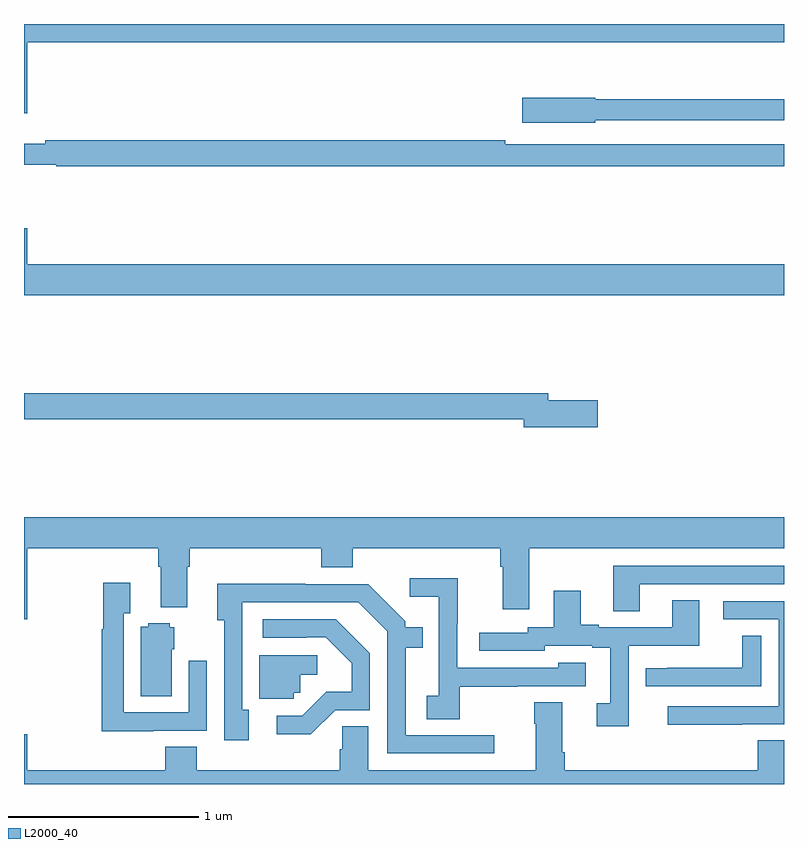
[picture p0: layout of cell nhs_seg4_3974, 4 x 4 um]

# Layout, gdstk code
import gdstk
lib = gdstk.Library(unit=1e-6, precision=1e-09)
def P(c, l, *ps):  # polygons
    for p in ps: c.add(gdstk.Polygon(p, *l))
L2000_40 = (2000, 40)

nhs_seg4_3974 = lib.new_cell('nhs_seg4_3974')
P(nhs_seg4_3974, L2000_40, [(321.016,812.804),(325,812.804),(325,812.9),(321,812.9),(321,812.43),(321.016,812.43)],
  [(324.006,812.394),(325,812.394),(325,812.503),(324.006,812.503),(324.006,812.511),(323.622,812.511),(323.622,812.381),(324.006,812.381)],
  [(325,812.268),(323.534,812.268),(323.534,812.288),(321.112,812.288),(321.112,812.269),(321,812.269),(321,812.16),(321.17,812.16),(321.17,812.152),(325,812.152)],
  [(325,811.636),(321.016,811.636),(321.016,811.825),(321,811.825),(321,811.472),(325,811.472)],
  [(324.019,810.92),(323.758,810.92),(323.758,810.956),(321,810.956),(321,810.82),(323.63,810.82),(323.63,810.778),(324.019,810.778)],
  [(321.016,810.14),(321.707,810.14),(321.707,810.044),(321.719,810.044),(321.719,809.831),(321.859,809.831),(321.859,810.044),(321.872,810.044),(321.872,810.14),(322.565,810.14),(322.565,810.041),(322.73,810.041),(322.73,810.14),(323.507,810.14),(323.507,810.044),(323.519,810.044),(323.519,809.82),(323.659,809.82),(323.659,810.14),(325,810.14),(325,810.304),(321,810.304),(321,809.766),(321.016,809.766)],
  [(324.241,809.952),(325,809.952),(325,810.048),(324.101,810.048),(324.101,809.809),(324.241,809.809)],
  [(323.293,809.413),(323.597,809.413),(323.597,809.415),(323.956,809.415),(323.956,809.539),(323.811,809.539),(323.811,809.511),(323.28,809.511),(323.28,809.744),(323.283,809.744),(323.283,809.983),(323.031,809.983),(323.031,809.885),(323.184,809.885),(323.184,809.364),(323.121,809.364),(323.121,809.242),(323.293,809.242)],
  [(321.679,809.181),(321.963,809.181),(321.963,809.548),(321.867,809.548),(321.867,809.277),(321.525,809.277),(321.525,809.798),(321.559,809.798),(321.559,809.959),(321.417,809.959),(321.417,809.714),(321.409,809.714),(321.409,809.177),(321.679,809.177)],
  [(323.476,809.157),(323.008,809.157),(323.008,809.616),(323.099,809.616),(323.099,809.725),(323.007,809.725),(323.007,809.757),(322.812,809.952),(322.481,809.952),(322.481,809.954),(322.016,809.954),(322.016,809.762),(322.053,809.762),(322.053,809.13),(322.183,809.13),(322.183,809.29),(322.149,809.29),(322.149,809.856),(322.758,809.856),(322.911,809.703),(322.911,809.061),(323.476,809.061)],
  [(324.183,809.628),(324.553,809.628),(324.553,809.867),(324.413,809.867),(324.413,809.724),(324.025,809.724),(324.025,809.737),(323.929,809.737),(323.929,809.917),(323.789,809.917),(323.789,809.724),(323.652,809.724),(323.652,809.697),(323.397,809.697),(323.397,809.601),(323.742,809.601),(323.742,809.628),(323.99,809.628),(323.99,809.616),(324.086,809.616),(324.086,809.325),(324.015,809.325),(324.015,809.205),(324.183,809.205)],
  [(324.779,809.214),(325,809.214),(325,809.862),(324.681,809.862),(324.681,809.766),(324.972,809.766),(324.972,809.31),(324.387,809.31),(324.387,809.212),(324.779,809.212)],
  [(322.638,809.289),(322.821,809.289),(322.821,809.587),(322.642,809.766),(322.257,809.766),(322.257,809.67),(322.487,809.67),(322.487,809.673),(322.587,809.673),(322.724,809.536),(322.724,809.386),(322.591,809.386),(322.464,809.259),(322.329,809.259),(322.329,809.162),(322.51,809.162)],
  [(321.778,809.61),(321.79,809.61),(321.79,809.724),(321.768,809.724),(321.768,809.746),(321.654,809.746),(321.654,809.728),(321.614,809.728),(321.614,809.362),(321.778,809.362)],
  [(324.879,809.681),(324.781,809.681),(324.781,809.511),(324.385,809.511),(324.385,809.51),(324.273,809.51),(324.273,809.415),(324.879,809.415)],
  [(322.419,809.379),(322.455,809.379),(322.455,809.474),(322.543,809.474),(322.543,809.577),(322.238,809.577),(322.238,809.349),(322.419,809.349)],
  [(325,809.129),(324.863,809.129),(324.863,808.972),(323.846,808.972),(323.846,809.068),(323.833,809.068),(323.833,809.329),(323.686,809.329),(323.686,809.216),(323.693,809.216),(323.693,808.972),(322.813,808.972),(322.813,809.204),(322.675,809.204),(322.675,809.082),(322.661,809.082),(322.661,808.972),(321.908,808.972),(321.908,809.096),(321.743,809.096),(321.743,808.972),(321.016,808.972),(321.016,809.161),(321,809.161),(321,808.9),(325,808.9)])

lib.write_gds('nhs_seg4_3974.gds')
